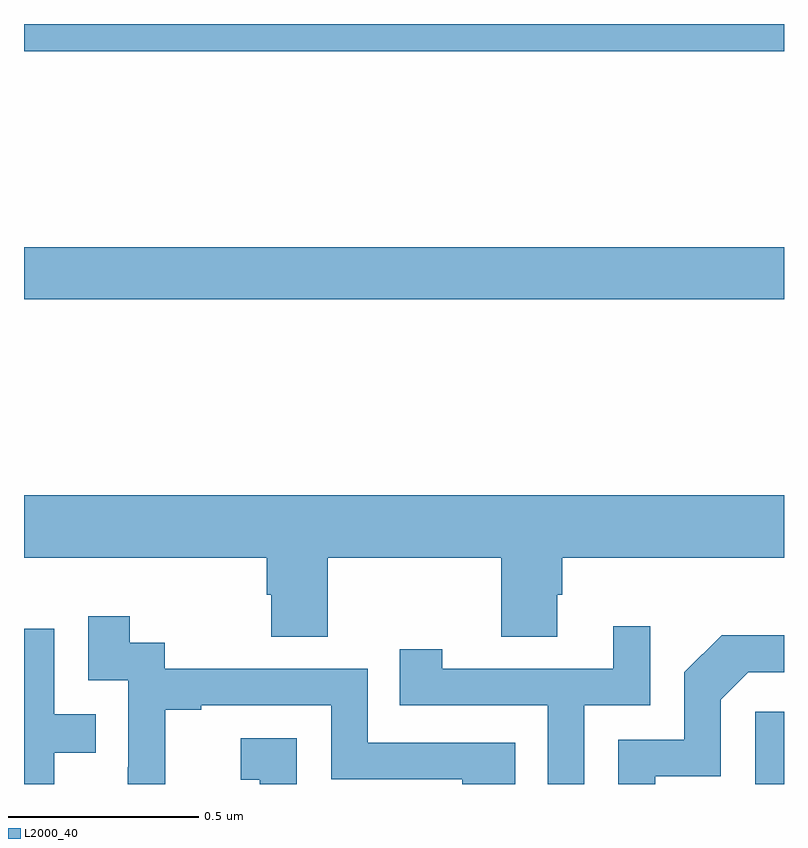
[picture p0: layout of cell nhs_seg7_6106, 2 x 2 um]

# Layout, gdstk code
import gdstk
lib = gdstk.Library(unit=1e-6, precision=1e-09)
def R(c, l, rs):  # rectangles x0, y0, x1, y1
    for r in rs: c.add(gdstk.rectangle(r[:2], r[2:], *l))
def P(c, l, *ps):  # polygons
    for p in ps: c.add(gdstk.Polygon(p, *l))
L2000_40 = (2000, 40)

nhs_seg7_6106 = lib.new_cell('nhs_seg7_6106')
R(nhs_seg7_6106, L2000_40, [(195.924,1020,196,1020.19), (194,1021.276,196,1021.412), (194,1021.928,196,1022)])
P(nhs_seg7_6106, L2000_40, [(194.799,1020.596),(195.256,1020.596),(195.256,1020.388),(195.403,1020.388),(195.403,1020.498),(195.416,1020.498),(195.416,1020.596),(196,1020.596),(196,1020.76),(194,1020.76),(194,1020.596),(194.639,1020.596),(194.639,1020.498),(194.651,1020.498),(194.651,1020.388),(194.799,1020.388)],
  [(194.372,1020.195),(194.467,1020.195),(194.467,1020.207),(194.808,1020.207),(194.808,1020.012),(195.153,1020.012),(195.153,1020),(195.293,1020),(195.293,1020.108),(194.904,1020.108),(194.904,1020.303),(194.37,1020.303),(194.37,1020.372),(194.278,1020.372),(194.278,1020.442),(194.169,1020.442),(194.169,1020.273),(194.274,1020.273),(194.274,1020.044),(194.273,1020.044),(194.273,1020),(194.372,1020)],
  [(195.474,1020.207),(195.648,1020.207),(195.648,1020.415),(195.551,1020.415),(195.551,1020.303),(195.1,1020.303),(195.1,1020.355),(194.989,1020.355),(194.989,1020.207),(195.378,1020.207),(195.378,1020),(195.474,1020)],
  [(194.079,1020.082),(194.189,1020.082),(194.189,1020.183),(194.079,1020.183),(194.079,1020.408),(194,1020.408),(194,1020),(194.079,1020)],
  [(195.661,1020.021),(195.834,1020.021),(195.834,1020.222),(195.906,1020.294),(196,1020.294),(196,1020.392),(195.836,1020.392),(195.738,1020.294),(195.738,1020.117),(195.564,1020.117),(195.564,1020),(195.661,1020)],
  [(194.718,1020.121),(194.571,1020.121),(194.571,1020.011),(194.62,1020.011),(194.62,1020),(194.718,1020)])

lib.write_gds('nhs_seg7_6106.gds')
